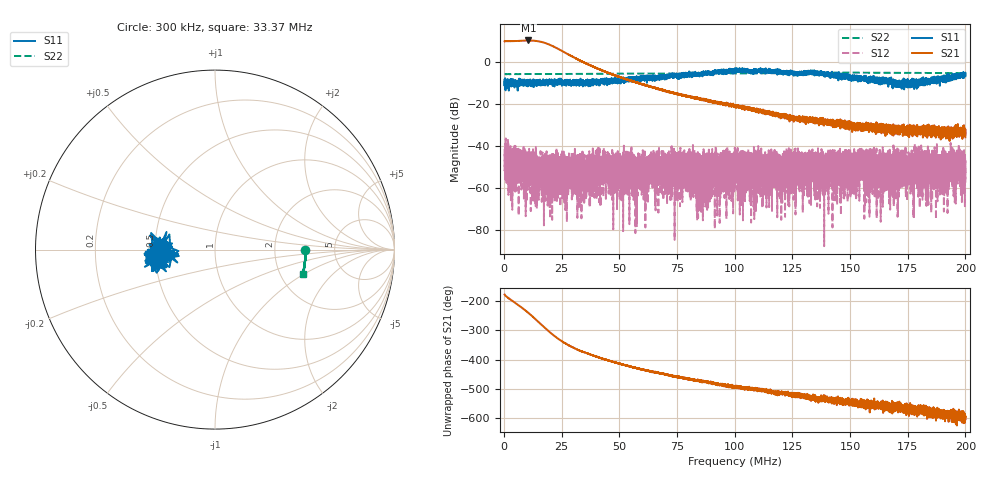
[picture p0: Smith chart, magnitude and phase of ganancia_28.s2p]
# Hz S DB R 50
! CMT, M5065, 19127446, 24.2.4/2
! Date: 10/29/2024 12:28:40 PM
! Data: Format (Calibration Info)
! Freq	S11:dB/Ang(F2)	S21:dB/Ang(F2)	S12:dB/Ang(F2)	S22:dB/Ang(F2)
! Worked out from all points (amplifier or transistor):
!   9000 points, 300 kHz to 200 MHz, reference 50 ohm
!   highest |S21| = 10.1 dB at 10.64 MHz (marker M1)
!   |S21| within 3 dB of that: start of sweep to 21.71 MHz
!   unconditionally stable (mu >= 1): start of sweep to end of sweep
!   at 33.59 MHz: K = 154.90, MAG = 2.0 dB, |S12| = -53.6 dB
!   at 100.2 MHz: K = 1232.50, MAG = -18.3 dB, |S12| = -52.6 dB
!   at 200 MHz: K = 13839.97, MAG = -33.6 dB, |S12| = -57.7 dB
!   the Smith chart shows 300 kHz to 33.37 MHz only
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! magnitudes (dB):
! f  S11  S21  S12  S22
! 300 kHz  -10.8  9.7  -41.7  -6.0
! 2.031 MHz  -10.4  9.7  -47.6  -5.9
! 10.64 MHz  -9.6  10.1  -55.4  -5.9
! 12.66 MHz  -10.5  10.0  -51.2  -5.9
! 18.94 MHz  -10.0  8.4  -47.9  -5.9
! 33.59 MHz  -9.8  0.2  -53.6  -5.9
! 43.8 MHz  -10.3  -4.7  -51.5  -5.8
! 46.39 MHz  -8.8  -5.9  -49.7  -5.8
! 66.87 MHz  -7.8  -12.9  -47.8  -5.7
! 100.2 MHz  -5.1  -21.3  -52.6  -5.6
! 110.5 MHz  -4.2  -23.4  -47.0  -5.6
! 122.7 MHz  -4.5  -26.3  -45.2  -5.5
! 133.4 MHz  -5.4  -27.0  -42.1  -5.4
! 146.7 MHz  -7.0  -30.8  -56.1  -5.3
! 154.7 MHz  -6.9  -30.5  -44.4  -5.3
! 157.5 MHz  -8.8  -29.9  -61.1  -5.3
! 166.7 MHz  -9.0  -31.5  -44.5  -5.3
! 178.8 MHz  -9.1  -32.0  -43.5  -5.4
! 188.8 MHz  -8.8  -35.2  -59.1  -5.4
! 197 MHz  -7.5  -31.5  -47.0  -5.5
! 198.9 MHz  -7.0  -33.7  -56.8  -5.5
! 200 MHz  -7.0  -36.0  -57.7  -5.5
